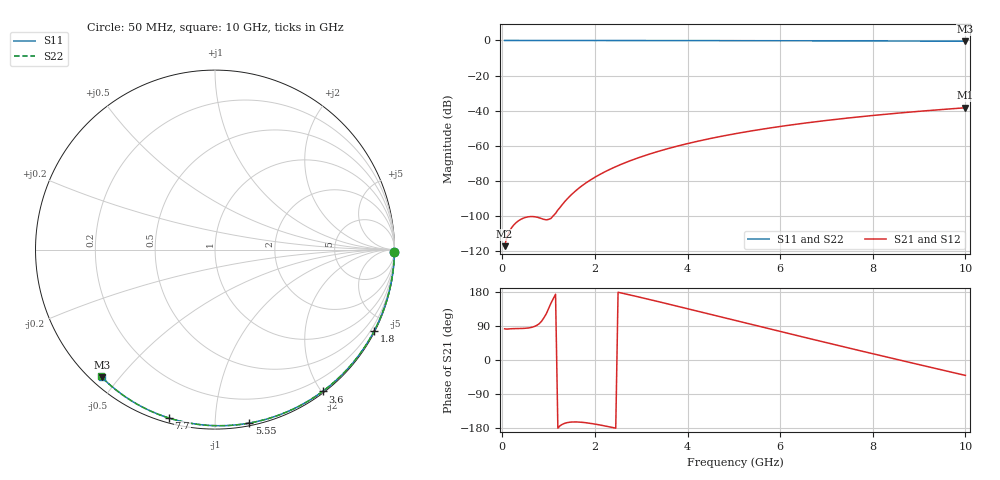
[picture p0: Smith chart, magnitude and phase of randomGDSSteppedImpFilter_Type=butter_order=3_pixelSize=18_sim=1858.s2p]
! freq	dB(S11)	phase(S11)	dB(S12)	phase(S12)
!  dB(S21)	phase(S21)	dB(S22)	phase(S22)
!S-par simulation data
#  GHz  S  DB  R 50
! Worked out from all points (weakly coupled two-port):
!   200 points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, 50 MHz to 10 GHz, reference 50 ohm
!   highest |S21| = -38.36 dB at 10 GHz (marker M1); lowest = -117.2 dB at 50 MHz (marker M2)
!   lowest |S11| = -0.4 dB at 10 GHz (marker M3), VSWR 39.07, Z = 1.54 - j22.4 ohm
!   |S11| at or under -10 dB: nowhere
!   |S22| runs from -0.4 to 0.0 dB; largest |S21 - S12| = 0
!   S11 on the Smith chart (normalised r, x): 50 MHz: open; 1.8 GHz: 0.04, -4.16; 3.6 GHz: 0.02, -2.01; 5.55 GHz: 0.02, -1.22; 7.7 GHz: 0.02, -0.76; 10 GHz: 0.03, -0.45
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0.05  -0.00 -0.8  -117.22 82.3  -117.22 82.3  -0.00 -0.8
0.9  -0.02 -13.6  -101.96 111.6  -101.96 111.6  -0.02 -13.7
1.75  -0.03 -26.3  -82.23 -164.8  -82.23 -164.8  -0.03 -26.4
1.8  -0.03 -27.0  -81.29 -165.5  -81.29 -165.5  -0.03 -27.1
1.85  -0.04 -27.8  -80.41 -166.3  -80.41 -166.3  -0.04 -27.9
1.9  -0.04 -28.5  -79.55 -167.2  -79.55 -167.2  -0.04 -28.6
2.05  -0.04 -30.7  -77.18 -170.2  -77.18 -170.2  -0.04 -30.8
2.25  -0.04 -33.6  -74.38 -174.8  -74.38 -174.8  -0.04 -33.7
2.45  -0.05 -36.5  -71.91 -179.9  -71.91 -179.9  -0.05 -36.6
2.65  -0.05 -39.4  -69.69 174.7  -69.69 174.7  -0.05 -39.5
3  -0.06 -44.4  -66.29 164.8  -66.29 164.8  -0.06 -44.6
3.4  -0.07 -50.0  -62.95 153.2  -62.95 153.2  -0.07 -50.2
3.6  -0.07 -52.8  -61.46 147.3  -61.46 147.3  -0.07 -53.0
4.3  -0.09 -62.4  -56.96 126.3  -56.96 126.3  -0.09 -62.6
5.05  -0.11 -72.4  -53.04 103.8  -53.04 103.8  -0.11 -72.6
5.55  -0.13 -78.9  -50.81 88.8  -50.81 88.8  -0.13 -79.1
6.1  -0.15 -85.8  -48.63 72.4  -48.63 72.4  -0.15 -86.1
6.7  -0.18 -93.3  -46.54 54.6  -46.54 54.6  -0.18 -93.6
7.7  -0.24 -105.3  -43.55 25.3  -43.55 25.3  -0.24 -105.6
8.35  -0.29 -112.9  -41.87 6.4  -41.87 6.4  -0.29 -113.2
9.15  -0.36 -122.0  -40.05 -16.5  -40.05 -16.5  -0.36 -122.4
10  -0.44 -131.6  -38.36 -40.7  -38.36 -40.7  -0.45 -132.1
